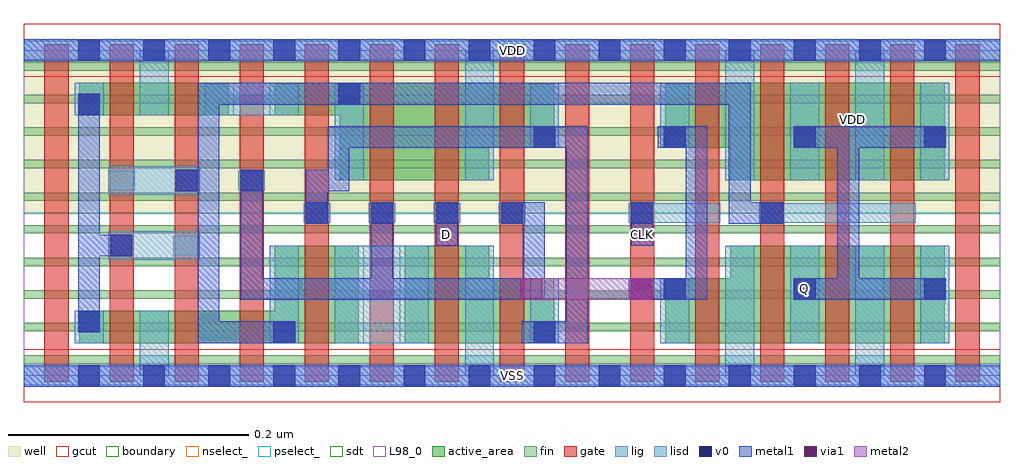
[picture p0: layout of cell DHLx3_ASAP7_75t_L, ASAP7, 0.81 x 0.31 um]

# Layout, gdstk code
import gdstk
lib = gdstk.Library(unit=1e-6, precision=2.5e-10)
def R(c, l, rs):  # rectangles x0, y0, x1, y1
    for r in rs: c.add(gdstk.rectangle(r[:2], r[2:], *l))
def A(c, l, x, y, w, h, nx, ny, dx, dy):  # array of equal rectangles
    R(c, l, [(x+i*dx, y+j*dy, x+i*dx+w, y+j*dy+h) for i in range(nx) for j in range(ny)])
def P(c, l, *ps):  # polygons
    for p in ps: c.add(gdstk.Polygon(p, *l))
well = (1, 0)
fin = (2, 0)
gate = (7, 0)
gcut = (10, 0)
active_area = (11, 0)
nselect_ = (12, 0)
pselect_ = (13, 0)
lig = (16, 0)
lisd = (17, 0)
v0 = (18, 0)
metal1 = (19, 0)
metal2 = (20, 0)
via1 = (21, 0)
sdt = (88, 0)
L98_0 = (98, 0)
boundary = (100, 0)

dhlx3_asap7_75t_l = lib.new_cell('DHLx3_ASAP7_75t_L')
R(dhlx3_asap7_75t_l, well, [(0,0.135,0.81,0.27)])
A(dhlx3_asap7_75t_l, fin, 0, 0.01, 0.81, 0.007, 1, 10, 0, 0.027)
A(dhlx3_asap7_75t_l, gate, 0.017, -0.005, 0.02, 0.28, 15, 1, 0.054, 0)
R(dhlx3_asap7_75t_l, gcut, [(0,-0.022,0.81,0.022), (0,0.248,0.81,0.292)])
R(dhlx3_asap7_75t_l, active_area, [(0.046,0.216,0.17,0.243)])
P(dhlx3_asap7_75t_l, active_area, [(0.532,0.027),(0.532,0.081),(0.586,0.081),(0.586,0.108),(0.764,0.108),(0.764,0.027)],
  [(0.316,0.027),(0.316,0.108),(0.386,0.108),(0.386,0.081),(0.44,0.081),(0.44,0.027)],
  [(0.046,0.027),(0.046,0.054),(0.208,0.054),(0.208,0.108),(0.278,0.108),(0.278,0.027)],
  [(0.586,0.162),(0.586,0.189),(0.532,0.189),(0.532,0.243),(0.764,0.243),(0.764,0.162)],
  [(0.262,0.162),(0.262,0.216),(0.208,0.216),(0.208,0.243),(0.44,0.243),(0.44,0.189),(0.386,0.189),(0.386,0.162)])
R(dhlx3_asap7_75t_l, nselect_, [(0,0,0.81,0.135)])
R(dhlx3_asap7_75t_l, pselect_, [(0,0.135,0.81,0.27)])
A(dhlx3_asap7_75t_l, lig, 0.232, 0.127, 0.022, 0.016, 4, 1, 0.054, 0)
R(dhlx3_asap7_75t_l, lig, [(0,-0.008,0.81,0.008), (0.124,0.1,0.146,0.116), (0.502,0.127,0.578,0.143), (0.61,0.127,0.74,0.143), (0.07,0.154,0.092,0.17), (0.178,0.154,0.2,0.17), (0,0.262,0.81,0.278)])
R(dhlx3_asap7_75t_l, lisd, [(0.096,0,0.12,0.054), (0.366,0,0.39,0.108), (0.582,0,0.606,0.108), (0.69,0,0.714,0.108), (0.042,0.027,0.066,0.054), (0.204,0.027,0.228,0.108), (0.258,0.027,0.336,0.108), (0.42,0.027,0.444,0.081), (0.528,0.027,0.552,0.081), (0.636,0.027,0.66,0.108), (0.744,0.027,0.768,0.108), (0.07,0.096,0.146,0.12), (0.07,0.15,0.146,0.174), (0.258,0.162,0.282,0.243), (0.366,0.162,0.39,0.27), (0.582,0.162,0.606,0.27), (0.636,0.162,0.66,0.243), (0.69,0.162,0.714,0.27), (0.744,0.162,0.768,0.243), (0.42,0.189,0.444,0.243), (0.528,0.189,0.552,0.243), (0.042,0.216,0.066,0.243), (0.096,0.216,0.12,0.27), (0.15,0.216,0.228,0.243)])
A(dhlx3_asap7_75t_l, v0, 0.045, -0.009, 0.018, 0.018, 14, 2, 0.054, 0.27)
A(dhlx3_asap7_75t_l, v0, 0.531, 0.063, 0.018, 0.018, 3, 1, 0.108, 0)
A(dhlx3_asap7_75t_l, v0, 0.234, 0.126, 0.018, 0.018, 4, 1, 0.054, 0)
A(dhlx3_asap7_75t_l, v0, 0.423, 0.189, 0.018, 0.018, 4, 1, 0.108, 0)
R(dhlx3_asap7_75t_l, v0, [(0.207,0.027,0.225,0.045), (0.423,0.027,0.441,0.045), (0.045,0.036,0.063,0.054), (0.072,0.099,0.09,0.117), (0.504,0.126,0.522,0.144), (0.612,0.126,0.63,0.144), (0.126,0.153,0.144,0.171), (0.18,0.153,0.198,0.171), (0.045,0.216,0.063,0.234), (0.261,0.225,0.279,0.243)])
R(dhlx3_asap7_75t_l, metal1, [(0,-0.009,0.81,0.009), (0.342,0.108,0.36,0.144), (0.504,0.108,0.522,0.144), (0,0.261,0.81,0.279)])
P(dhlx3_asap7_75t_l, metal1, [(0.18,0.063),(0.18,0.171),(0.198,0.171),(0.198,0.081),(0.288,0.081),(0.288,0.144),(0.306,0.144),(0.306,0.081),(0.414,0.081),(0.414,0.126),(0.396,0.126),(0.396,0.144),(0.432,0.144),(0.432,0.063)],
  [(0.639,0.063),(0.639,0.081),(0.675,0.081),(0.675,0.189),(0.639,0.189),(0.639,0.207),(0.765,0.207),(0.765,0.189),(0.693,0.189),(0.693,0.081),(0.765,0.081),(0.765,0.063)],
  [(0.144,0.027),(0.144,0.153),(0.126,0.153),(0.126,0.171),(0.144,0.171),(0.144,0.243),(0.603,0.243),(0.603,0.144),(0.63,0.144),(0.63,0.126),(0.585,0.126),(0.585,0.225),(0.162,0.225),(0.162,0.045),(0.225,0.045),(0.225,0.027)],
  [(0.502,0.063),(0.502,0.081),(0.549,0.081),(0.549,0.189),(0.526,0.189),(0.526,0.207),(0.567,0.207),(0.567,0.063)],
  [(0.413,0.027),(0.413,0.045),(0.45,0.045),(0.45,0.189),(0.27,0.189),(0.27,0.153),(0.252,0.153),(0.252,0.126),(0.234,0.126),(0.234,0.171),(0.252,0.171),(0.252,0.207),(0.468,0.207),(0.468,0.027)],
  [(0.045,0.036),(0.045,0.234),(0.063,0.234),(0.063,0.117),(0.09,0.117),(0.09,0.099),(0.063,0.099),(0.063,0.036)])
R(dhlx3_asap7_75t_l, metal2, [(0.412,0.063,0.522,0.081)])
R(dhlx3_asap7_75t_l, via1, [(0.412,0.063,0.43,0.081), (0.504,0.063,0.522,0.081)])
A(dhlx3_asap7_75t_l, sdt, 0.204, 0.027, 0.024, 0.081, 4, 1, 0.054, 0)
A(dhlx3_asap7_75t_l, sdt, 0.582, 0.027, 0.024, 0.081, 4, 2, 0.054, 0.135)
A(dhlx3_asap7_75t_l, sdt, 0.042, 0.216, 0.024, 0.027, 4, 1, 0.054, 0)
R(dhlx3_asap7_75t_l, sdt, [(0.042,0.027,0.066,0.054), (0.096,0.027,0.12,0.054), (0.42,0.027,0.444,0.081), (0.528,0.027,0.552,0.081), (0.258,0.162,0.282,0.243), (0.366,0.162,0.39,0.243), (0.42,0.189,0.444,0.243), (0.528,0.189,0.552,0.243)])
R(dhlx3_asap7_75t_l, L98_0, [(0,0,0.81,0.27)])
R(dhlx3_asap7_75t_l, boundary, [(0,0,0.81,0.27)])
dhlx3_asap7_75t_l.add(gdstk.Label('CLK', (0.513,0.117), layer=19, texttype=251))
dhlx3_asap7_75t_l.add(gdstk.Label('D', (0.351,0.117), layer=19, texttype=251))
dhlx3_asap7_75t_l.add(gdstk.Label('Q', (0.648,0.072), layer=19, texttype=251))
dhlx3_asap7_75t_l.add(gdstk.Label('VSS', (0.405,0), layer=19, texttype=251))
dhlx3_asap7_75t_l.add(gdstk.Label('VDD', (0.405,0.27), layer=19, texttype=251))
dhlx3_asap7_75t_l.add(gdstk.Label('VDD', (0.688,0.213), layer=1, texttype=251))
dhlx3_asap7_75t_l.add(gdstk.Label('VSS', (0.931,0.213), layer=3, texttype=251))

lib.write_gds('DHLx3_ASAP7_75t_L.gds')
